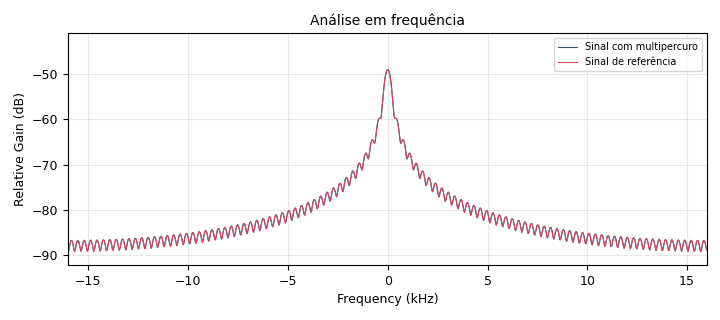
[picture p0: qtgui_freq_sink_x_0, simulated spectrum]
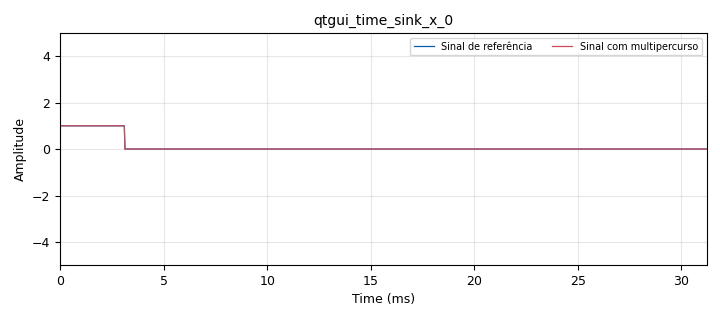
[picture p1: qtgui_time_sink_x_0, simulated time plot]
options:
  parameters:
    author: araujo
    generate_options: qt_gui
    id: multi_percurso
    output_language: python
    title: Modelo 1 raios
  states: {}

blocks:
- name: alpha
  id: variable_qtgui_range
  parameters:
    label: Ganho segundo percurso
    start: '-2'
    step: '0.1'
    stop: '2'
    value: '0'
  states: {}
- name: atraso
  id: variable_qtgui_range
  parameters:
    label: Atraso de percurso
    start: '0'
    step: '20'
    stop: '500'
    value: '0'
  states: {}
- name: length
  id: variable
  parameters:
    value: '10'
  states: {}
- name: samp_rate
  id: variable
  parameters:
    value: '32000'
  states: {}
- name: vec_len
  id: variable
  parameters:
    value: int(1e3)
  states: {}
- name: analog_sig_source_x_0
  id: analog_sig_source_x
  parameters:
    amp: '1'
    freq: 250e3
    offset: '0'
    phase: '0'
    samp_rate: samp_rate
    type: float
    waveform: analog.GR_TRI_WAVE
  states: {state: disabled}
- name: blocks_add_xx_0
  id: blocks_add_xx
  parameters:
    type: float
  states: {}
- name: blocks_delay_0
  id: blocks_delay
  parameters:
    delay: int(atraso)
    type: float
  states: {}
- name: blocks_multiply_const_vxx_0
  id: blocks_multiply_const_vxx
  parameters:
    const: alpha
    type: float
  states: {}
- name: blocks_throttle_0
  id: blocks_throttle
  parameters:
    samples_per_second: samp_rate
    type: float
  states: {}
- name: blocks_vector_source_x_0
  id: blocks_vector_source_x
  parameters:
    repeat: 'True'
    tags: ''
    type: float
    vector: '[1]*int(vec_len/length) + [0]*(vec_len - int(vec_len/length))'
  states: {}
- name: qtgui_freq_sink_x_0
  id: qtgui_freq_sink_x
  parameters:
    autoscale: 'True'
    average: '0.2'
    bw: samp_rate
    fc: '0'
    fftsize: '1024'
    grid: 'True'
    label1: Sinal com multipercuro
    label2: Sinal de referência
    name: Análise em frequência
    nconnections: '2'
    type: float
    update_time: '0.001'
  states: {}
- name: qtgui_time_sink_x_0
  id: qtgui_time_sink_x
  parameters:
    color1: dark blue
    label1: Sinal de referência
    label2: Sinal com multipercurso
    nconnections: '2'
    size: vec_len
    srate: samp_rate
    type: float
    ymax: '5'
    ymin: '-5'
  states: {}

connections:
- [analog_sig_source_x_0, '0', blocks_throttle_0, '0']
- [blocks_add_xx_0, '0', qtgui_freq_sink_x_0, '0']
- [blocks_add_xx_0, '0', qtgui_time_sink_x_0, '1']
- [blocks_delay_0, '0', blocks_multiply_const_vxx_0, '0']
- [blocks_multiply_const_vxx_0, '0', blocks_add_xx_0, '1']
- [blocks_throttle_0, '0', blocks_add_xx_0, '0']
- [blocks_throttle_0, '0', blocks_delay_0, '0']
- [blocks_throttle_0, '0', qtgui_freq_sink_x_0, '1']
- [blocks_throttle_0, '0', qtgui_time_sink_x_0, '0']
- [blocks_vector_source_x_0, '0', blocks_throttle_0, '0']

metadata:
  file_format: 1
